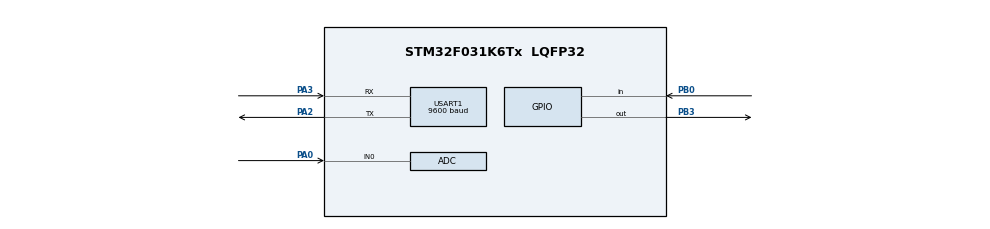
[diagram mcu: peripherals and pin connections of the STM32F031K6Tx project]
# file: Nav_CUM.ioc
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ADC.Resolution=ADC_RESOLUTION_8B
Mcu.Family=STM32F0
Mcu.Name=STM32F031K6Tx
Mcu.Package=LQFP32
NVIC.ADC1_IRQn=true\:0\:0\:false\:false\:true\:true\:true
NVIC.TIM14_IRQn=true\:0\:0\:false\:false\:true\:true\:true
NVIC.TIM16_IRQn=true\:0\:0\:false\:false\:true\:true\:true
NVIC.TIM17_IRQn=true\:0\:0\:false\:false\:true\:true\:true
NVIC.USART1_IRQn=true\:0\:0\:false\:false\:true\:true\:true
PA0.Mode=IN0
PA0.Signal=ADC_IN0
PA13.GPIO_Label=SWDIO
PA13.Mode=Serial_Wire
PA13.Signal=SYS_SWDIO
PA14.GPIO_Label=SWCLK
PA14.Mode=Serial_Wire
PA14.Signal=SYS_SWCLK
PA2.Mode=Asynchronous
PA2.Signal=USART1_TX
PA3.GPIO_ModeDefaultPP=GPIO_MODE_AF_PP
PA3.GPIO_PuPd=GPIO_NOPULL
PA3.GPIO_Speed=GPIO_SPEED_FREQ_HIGH
PA3.Mode=Asynchronous
PA3.Signal=USART1_RX
PB0.GPIO_PuPd=GPIO_PULLDOWN
PB0.Signal=GPIO_Input
PB3.Signal=GPIO_Output
PF0-OSC_IN.Mode=HSE-External-Clock-Source
PF0-OSC_IN.Signal=RCC_OSC_IN
ProjectManager.HeapSize=0x200
ProjectManager.StackSize=0x400
ProjectManager.TargetToolchain=STM32CubeIDE
RCC.AHBFreq_Value=8000000
RCC.APB1CLKDivider=RCC_HCLK_DIV16
RCC.APB1Freq_Value=500000
RCC.APB1TimFreq_Value=1000000
RCC.HCLKFreq_Value=8000000
TIM14.AutoReloadPreload=TIM_AUTORELOAD_PRELOAD_DISABLE
TIM14.Period=4999
TIM14.Prescaler=999
TIM16.Period=249
TIM16.Prescaler=999
TIM17.Period=29
TIM17.Prescaler=999
USART1.BaudRate=9600
USART1.VirtualMode-Asynchronous=VM_ASYNC
VP_TIM14_VS_ClockSourceINT.Mode=Enable_Timer
VP_TIM16_VS_ClockSourceINT.Mode=Enable_Timer
VP_TIM17_VS_ClockSourceINT.Mode=Enable_Timer
board=NUCLEO-F031K6

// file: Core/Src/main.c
/* USER CODE BEGIN Header */
/**
  ******************************************************************************
  * @file           : main.c
  * @brief          : Main program body
  ******************************************************************************
  * @attention
  *
  * <h2><center>&copy; Copyright (c) 2021 STMicroelectronics.
  * All rights reserved.</center></h2>
  *
  * This software component is licensed by ST under BSD 3-Clause license,
  * the "License"; You may not use this file except in compliance with the
  * License. You may obtain a copy of the License at:
  *                        opensource.org/licenses/BSD-3-Clause
  *
  ******************************************************************************
  */
/* USER CODE END Header */
#include "main.h"

/* USER CODE BEGIN PD */
#define size_tx_buffer 100 // Размер буффера приема-передачи nmea строки
uint8_t queue_message;
uint8_t tx_buffer[size_tx_buffer];
uint8_t rx_buffer[1];
uint8_t error_message[] = "error!\n\r";
uint8_t error_counter;
volatile uint8_t rx_counter;
volatile uint8_t size_message;
/* USER CODE END PD */

ADC_HandleTypeDef hadc;

TIM_HandleTypeDef htim14;
TIM_HandleTypeDef htim16;
TIM_HandleTypeDef htim17;

UART_HandleTypeDef huart1;

void SystemClock_Config(void);
static void MX_GPIO_Init(void);
static void MX_TIM14_Init(void);
static void MX_TIM16_Init(void);
static void MX_USART1_UART_Init(void);
static void MX_TIM17_Init(void);
static void MX_ADC_Init(void);

/* USER CODE BEGIN 0 */
void HAL_UART_RxCpltCallback(UART_HandleTypeDef *huart)
{
	if (rx_buffer[0] != '\n')
		{
				if(rx_counter == 0)
				{
					if(rx_buffer[0]=='$') flag.flag_true = 1;
					else flag.flag_true = 0;
				}
				else if (rx_counter == 3 && flag.flag_true)
				{
					if(rx_buffer[0]=='G') flag.flag_true = 1;
					else flag.flag_true = 0;
				}
				else if (rx_counter == 4  && flag.flag_true)
				{
					if(rx_buffer[0]=='G') flag.flag_true = 1;
					else flag.flag_true = 0;
				}
				else if (rx_counter == 5  && flag.flag_true)
					{
						if(rx_buffer[0]=='A') flag.flag_true = 1;
						else flag.flag_true = 0;
					}
			tx_buffer[rx_counter] = rx_buffer[0];

			rx_counter++;
			size_message = rx_counter;
			if (size_message >= size_tx_buffer && error_counter == 0)
				{
					HAL_UART_Transmit(&huart1, error_message, sizeof error_message / sizeof error_message[0],0xffff);
					error_counter++;
					flag.flag_send = 0;
				}
		}
	else if (rx_buffer[0] == '\n')
	{
		tx_buffer[rx_counter] = '\n';
		//tx_buffer[rx_counter+1] = '\n';
		//tx_buffer[rx_counter + 2] = '\0';
		size_message = rx_counter+1;
		rx_counter = 0;
		if (size_message >= size_tx_buffer)
			{
			flag.flag_send = 0;
			HAL_UART_Transmit(&huart1, error_message,sizeof error_message / sizeof error_message[0],0xffff);
			}
		else
		{
			if (flag.flag_true)
				{
				flag.flag_send = 1;
					error_counter = 0;
				}
			else flag.flag_send = 0;
			}
	}
	HAL_UART_Receive_IT(&huart1, rx_buffer, 1);
}
/* USER CODE END 0 */

int main(void)
{

  /* MCU Configuration--------------------------------------------------------*/

  /* Reset of all peripherals, Initializes the Flash interface and the Systick. */
  HAL_Init();

  /* USER CODE BEGIN Init */

  flag.TM_flag = 0;
  flag.Last_TM_flag = 0;
  flag.TM_Send = 0;
  flag.TIM16_flag = 0;
  flag.btnOn = 0;
  flag.flag_send = 0;
  flag.flag_true = 0;

  pwrVal = 0;
  pwr_cnt = 0;
  led_cnt = 0;

  /* USER CODE END Init */

  /* Configure the system clock */
  SystemClock_Config();

  /* Initialize all configured peripherals */
  MX_GPIO_Init();
  MX_TIM14_Init();
  MX_TIM16_Init();
  MX_USART1_UART_Init();
  MX_TIM17_Init();
  MX_ADC_Init();
  /* USER CODE BEGIN 2 */
  HAL_TIM_Base_Start_IT(&htim14);
  queue_message = 1;//î÷åðåäü îòïðàâêè ñîîáùåíèé èçíà÷àëüíî ðàâíà 1
  rx_counter = 0;//Ñèìâîëû åùå íå ïðèõîäèëè. Áóäåò 0.
  size_message = 0;//Ðàçìåðà îòïðàâëÿåìîãî ñîîáùåíèÿ åùå íå çíàåì. Áóäåò 0.
  error_counter = 0;//Îøèáîê åùå íå áûëî. Áóäåò 0.
  HAL_UART_Receive_IT(&huart1, rx_buffer, 1);//Ðàçðåøàåì ïðèåì äàííûõ, ðàçìåðîì â 1 ñèìâîë.
  //HAL_TIM_Base_Start_IT(&htim17);
  /* USER CODE END 2 */

  /* Infinite loop */
  /* USER CODE BEGIN WHILE */
  while (1)
  {
	  if (flag.flag_send == 1)
	  	  	  {//åñëè ðàçðåøåíî îòñûëàòü ñîîáùåíèå è î÷åðåäü íå ðàâíà ìàêñèìàëüíîé, òî
	  	  	  	  if (huart1.gState == HAL_UART_STATE_READY)// && tx_buffer[0] == '$' && tx_buffer[1] == 'G' && tx_buffer[2] == 'N')// && tx_buffer[3] == 'G')
	  	  	  	  	  { //åñëè ïîðò ñâîáîäåí, è î÷åðåäü ñîîáùåíèÿ ñîîòâåòñòâóåò, òî
	  	  	  		  	  HAL_UART_Transmit(&huart1, tx_buffer, size_message,0xffff);//îòïðàâëÿåì ñîîáùåíèå, ÷åãî íàì òàì ïðèøëî â rx_buffer
	  	  	  		  	  flag.flag_send = 0;//ñòàâèì ñëåäóþùóþ î÷åðåäü, åñëè çàõîòèì åùå ÷òî-òî îòñûëàòü â ïîðò.
	  	  	  	  	  }
	  	  	  }
	  if (flag.TM_flag == 1)
	  {
		  if (flag.Last_TM_flag == 0)
		  {
			  TeleMetrySend();
			  flag.Last_TM_flag = 1;
		  }

		  if (led_cnt > 0 && flag.TIM16_flag)
		  {
			  flag.TIM16_flag = 0;
			  led_cnt--;
		  }
		  else if (led_cnt == 0)
			  {
			  flag.TM_flag = 0;
			  flag.Last_TM_flag = 0;
			  HAL_TIM_Base_Stop_IT(&htim16);
			  }
	  }

    /* USER CODE END WHILE */

  }
}

void SystemClock_Config(void)
{
  RCC_OscInitTypeDef RCC_OscInitStruct = {0};
  RCC_ClkInitTypeDef RCC_ClkInitStruct = {0};
  RCC_PeriphCLKInitTypeDef PeriphClkInit = {0};

  /** Initializes the RCC Oscillators according to the specified parameters
  * in the RCC_OscInitTypeDef structure.
  */
  RCC_OscInitStruct.OscillatorType = RCC_OSCILLATORTYPE_HSI|RCC_OSCILLATORTYPE_HSI14;
  RCC_OscInitStruct.HSIState = RCC_HSI_ON;
  RCC_OscInitStruct.HSI14State = RCC_HSI14_ON;
  RCC_OscInitStruct.HSICalibrationValue = RCC_HSICALIBRATION_DEFAULT;
  RCC_OscInitStruct.HSI14CalibrationValue = 16;
  RCC_OscInitStruct.PLL.PLLState = RCC_PLL_NONE;
  if (HAL_RCC_OscConfig(&RCC_OscInitStruct) != HAL_OK)
  {
    Error_Handler();
  }
  /** Initializes the CPU, AHB and APB buses clocks
  */
  RCC_ClkInitStruct.ClockType = RCC_CLOCKTYPE_HCLK|RCC_CLOCKTYPE_SYSCLK
                              |RCC_CLOCKTYPE_PCLK1;
  RCC_ClkInitStruct.SYSCLKSource = RCC_SYSCLKSOURCE_HSI;
  RCC_ClkInitStruct.AHBCLKDivider = RCC_SYSCLK_DIV1;
  RCC_ClkInitStruct.APB1CLKDivider = RCC_HCLK_DIV16;

  if (HAL_RCC_ClockConfig(&RCC_ClkInitStruct, FLASH_LATENCY_0) != HAL_OK)
  {
    Error_Handler();
  }
  PeriphClkInit.PeriphClockSelection = RCC_PERIPHCLK_USART1;
  PeriphClkInit.Usart1ClockSelection = RCC_USART1CLKSOURCE_PCLK1;
  if (HAL_RCCEx_PeriphCLKConfig(&PeriphClkInit) != HAL_OK)
  {
    Error_Handler();
  }
}

static void MX_ADC_Init(void)
{

  ADC_ChannelConfTypeDef sConfig = {0};

  /** Configure the global features of the ADC (Clock, Resolution, Data Alignment and number of conversion)
  */
  hadc.Instance = ADC1;
  hadc.Init.ClockPrescaler = ADC_CLOCK_ASYNC_DIV1;
  hadc.Init.Resolution = ADC_RESOLUTION_8B;
  hadc.Init.DataAlign = ADC_DATAALIGN_RIGHT;
  hadc.Init.ScanConvMode = ADC_SCAN_DIRECTION_FORWARD;
  hadc.Init.EOCSelection = ADC_EOC_SINGLE_CONV;
  hadc.Init.LowPowerAutoWait = DISABLE;
  hadc.Init.LowPowerAutoPowerOff = DISABLE;
  hadc.Init.ContinuousConvMode = DISABLE;
  hadc.Init.DiscontinuousConvMode = DISABLE;
  hadc.Init.ExternalTrigConv = ADC_SOFTWARE_START;
  hadc.Init.ExternalTrigConvEdge = ADC_EXTERNALTRIGCONVEDGE_NONE;
  hadc.Init.DMAContinuousRequests = DISABLE;
  hadc.Init.Overrun = ADC_OVR_DATA_PRESERVED;
  if (HAL_ADC_Init(&hadc) != HAL_OK)
  {
    Error_Handler();
  }
  /** Configure for the selected ADC regular channel to be converted.
  */
  sConfig.Channel = ADC_CHANNEL_0;
  sConfig.Rank = ADC_RANK_CHANNEL_NUMBER;
  sConfig.SamplingTime = ADC_SAMPLETIME_1CYCLE_5;
  if (HAL_ADC_ConfigChannel(&hadc, &sConfig) != HAL_OK)
  {
    Error_Handler();
  }

}

static void MX_TIM14_Init(void)
{

  htim14.Instance = TIM14;
  htim14.Init.Prescaler = 999;
  htim14.Init.CounterMode = TIM_COUNTERMODE_UP;
  htim14.Init.Period = 4999;
  htim14.Init.ClockDivision = TIM_CLOCKDIVISION_DIV1;
  htim14.Init.AutoReloadPreload = TIM_AUTORELOAD_PRELOAD_DISABLE;
  if (HAL_TIM_Base_Init(&htim14) != HAL_OK)
  {
    Error_Handler();
  }

}

static void MX_TIM16_Init(void)
{

  htim16.Instance = TIM16;
  htim16.Init.Prescaler = 999;
  htim16.Init.CounterMode = TIM_COUNTERMODE_UP;
  htim16.Init.Period = 249;
  htim16.Init.ClockDivision = TIM_CLOCKDIVISION_DIV1;
  htim16.Init.RepetitionCounter = 0;
  htim16.Init.AutoReloadPreload = TIM_AUTORELOAD_PRELOAD_DISABLE;
  if (HAL_TIM_Base_Init(&htim16) != HAL_OK)
  {
    Error_Handler();
  }

}

static void MX_TIM17_Init(void)
{

  htim17.Instance = TIM17;
  htim17.Init.Prescaler = 999;
  htim17.Init.CounterMode = TIM_COUNTERMODE_UP;
  htim17.Init.Period = 29;
  htim17.Init.ClockDivision = TIM_CLOCKDIVISION_DIV1;
  htim17.Init.RepetitionCounter = 0;
  htim17.Init.AutoReloadPreload = TIM_AUTORELOAD_PRELOAD_DISABLE;
  if (HAL_TIM_Base_Init(&htim17) != HAL_OK)
  {
    Error_Handler();
  }

}

static void MX_USART1_UART_Init(void)
{

  huart1.Instance = USART1;
  huart1.Init.BaudRate = 9600;
  huart1.Init.WordLength = UART_WORDLENGTH_8B;
  huart1.Init.StopBits = UART_STOPBITS_1;
  huart1.Init.Parity = UART_PARITY_NONE;
  huart1.Init.Mode = UART_MODE_TX_RX;
  huart1.Init.HwFlowCtl = UART_HWCONTROL_NONE;
  huart1.Init.OverSampling = UART_OVERSAMPLING_16;
  huart1.Init.OneBitSampling = UART_ONE_BIT_SAMPLE_DISABLE;
  huart1.AdvancedInit.AdvFeatureInit = UART_ADVFEATURE_NO_INIT;
  if (HAL_UART_Init(&huart1) != HAL_OK)
  {
    Error_Handler();
  }

}

static void MX_GPIO_Init(void)
{
  GPIO_InitTypeDef GPIO_InitStruct = {0};

  /* GPIO Ports Clock Enable */
  __HAL_RCC_GPIOF_CLK_ENABLE();
  __HAL_RCC_GPIOA_CLK_ENABLE();
  __HAL_RCC_GPIOB_CLK_ENABLE();

  /*Configure GPIO pin Output Level */
  HAL_GPIO_WritePin(GPIOB, GPIO_PIN_3, GPIO_PIN_RESET);

  /*Configure GPIO pin : PB0 */
  GPIO_InitStruct.Pin = GPIO_PIN_0;
  GPIO_InitStruct.Mode = GPIO_MODE_INPUT;
  GPIO_InitStruct.Pull = GPIO_PULLDOWN;
  HAL_GPIO_Init(GPIOB, &GPIO_InitStruct);

  /*Configure GPIO pin : PB3 */
  GPIO_InitStruct.Pin = GPIO_PIN_3;
  GPIO_InitStruct.Mode = GPIO_MODE_OUTPUT_PP;
  GPIO_InitStruct.Pull = GPIO_NOPULL;
  GPIO_InitStruct.Speed = GPIO_SPEED_FREQ_LOW;
  HAL_GPIO_Init(GPIOB, &GPIO_InitStruct);

}

/* USER CODE BEGIN 4 */
void Bin2Str(uint16_t data, char* pbuf)
{
    //pbuf += 3 - 1;  // Установка указателя буфера на последний (старший)         //
    *pbuf++ = (data / 100)|0x30;   // Вычисление 3 разряда двоично-десятичного числа
    data %= 100;            //
    *pbuf++ = (data / 10)|0x30;    // Вычисление 2 разряда двоично-десятичного числа
    data %= 10;             //
    *pbuf++ = (data / 1)|0x30;     // Вычисление 1 разряда двоично-десятичного числа
    data %= 1;
}
uint16_t pec_Update(uint16_t pec)
{
   static const  uint16_t lookup[256] =
   {
		   0x000, 0x001, 0x003, 0x004, 0x006, 0x008, 0x009, 0x00B,
		   0x00D, 0x00E, 0x010, 0x012, 0x013, 0x015, 0x017, 0x018,
		   0x01A, 0x01C, 0x01D, 0x01F, 0x020, 0x022, 0x024, 0x025,
		   0x027, 0x029, 0x02A, 0x02C, 0x02E, 0x02F, 0x031, 0x033,
		   0x034, 0x036, 0x038, 0x039, 0x03B, 0x03C, 0x03E, 0x040,
		   0x041, 0x043, 0x045, 0x046, 0x048, 0x04A, 0x04B, 0x04D,
		   0x04F, 0x050, 0x052, 0x054, 0x055, 0x057, 0x058, 0x05A,
		   0x05C, 0x05D, 0x05F, 0x061, 0x062, 0x064, 0x066, 0x067,
		   0x069, 0x06B, 0x06C, 0x06E, 0x070, 0x071, 0x073, 0x074,
		   0x076, 0x078, 0x079, 0x07B, 0x07D, 0x07E, 0x080, 0x082,
		   0x083, 0x085, 0x087, 0x088, 0x08A, 0x08C, 0x08D, 0x08F,
		   0x090, 0x092, 0x094, 0x095, 0x097, 0x099, 0x09A, 0x09C,
		   0x09E, 0x09F, 0x0A1, 0x0A3, 0x0A4, 0x0A6, 0x0A8, 0x0A9,
		   0x0AB, 0x0AC, 0x0AE, 0x0B0, 0x0B1, 0x0B3, 0x0B5, 0x0B6,
		   0x0B8, 0x0BA, 0x0BB, 0x0BD, 0x0BF, 0x0C0, 0x0C2, 0x0C4,
		   0x0C5, 0x0C7, 0x0C8, 0x0CA, 0x0CC, 0x0CD, 0x0CF, 0x0D1,
		   0x0D2, 0x0D4, 0x0D6, 0x0D7, 0x0D9, 0x0DB, 0x0DC, 0x0DE,
		   0x0E0, 0x0E1, 0x0E3, 0x0E4, 0x0E6, 0x0E8, 0x0E9, 0x0EB,
		   0x0ED, 0x0EE, 0x0F0, 0x0F2, 0x0F3, 0x0F5, 0x0F7, 0x0F8,
		   0x0FA, 0x0FC, 0x0FD, 0x0FF, 0x100, 0x102, 0x104, 0x105,
		   0x107, 0x109, 0x10A, 0x10C, 0x10E, 0x10F, 0x111, 0x113,
		   0x114, 0x116, 0x118, 0x119, 0x11B, 0x11C, 0x11E, 0x120,
		   0x121, 0x123, 0x125, 0x126, 0x128, 0x12A, 0x12B, 0x12D,
		   0x12F, 0x130, 0x132, 0x134, 0x135, 0x137, 0x138, 0x13A,
		   0x13C, 0x13D, 0x13F, 0x141, 0x142, 0x144, 0x146, 0x147,
		   0x149, 0x14B, 0x14C, 0x14E, 0x150, 0x151, 0x153, 0x154,
		   0x156, 0x158, 0x159, 0x15B, 0x15D, 0x15E, 0x160, 0x162,
		   0x163, 0x165, 0x167, 0x168, 0x16A, 0x16C, 0x16D, 0x16F,
		   0x170, 0x172, 0x174, 0x175, 0x177, 0x179, 0x17A, 0x17C,
		   0x17E, 0x17F, 0x181, 0x183, 0x184, 0x186, 0x188, 0x189,
		   0x18B, 0x18C, 0x18E, 0x190, 0x191, 0x193, 0x195, 0x196,
		   0x198, 0x19A, 0x19B, 0x19D, 0x19F, 0x1A0, 0x1A2, 0x1A4
   };
  pec = lookup[pec];
  return pec;
}

void TeleMetrySend(void)
{
	HAL_ADC_Start(&hadc);
	  HAL_ADC_PollForConversion(&hadc, 10);
	  pwrVal = HAL_ADC_GetValue(&hadc);
	  HAL_ADC_Stop(&hadc);

	  pwrVal = pec_Update(pwrVal);
	  Bin2Str(pwrVal, buffStr);

	  TM_Str[0]='#';
	  TM_Str[1]='T';
	  TM_Str[2]='M';
	  TM_Str[3]=',';
	  TM_Str[4]=buffStr[0];
	  TM_Str[5]=buffStr[1];
	  TM_Str[6]='.';
	  TM_Str[7]=buffStr[2];
	  TM_Str[8]=',';
	  TM_Str[9]='R';
	  TM_Str[10]=',';
	  if (HAL_GPIO_ReadPin(GPIOB, GPIO_PIN_0)==GPIO_PIN_SET) TM_Str[11]='W';
	  else TM_Str[11]=' ';
	  TM_Str[12]='*';
	  CrcBuild();
	  TM_Str[15]='\n';
	  TM_Str[16]='\r';

	  if(huart1.gState == HAL_UART_STATE_READY)HAL_UART_Transmit(&huart1, TM_Str, 17, 0xFFFF);
	  HAL_TIM_Base_Start_IT(&htim16);

	  if(pwrVal <= 300) pwr_cnt = 1;
	  else if(pwrVal > 300 && pwrVal <= 340) pwr_cnt = 2;
	  else if(pwrVal > 340 && pwrVal <= 380) pwr_cnt = 3;
	  else pwr_cnt = 4;

	  led_cnt = pwr_cnt*2;
}

void CrcBuild (void)
{
	uint8_t crc = 0;
	for (uint8_t i = 0; i <=12; i++)
	{
		crc += TM_Str[i];
	}
	uint8_t LB = crc&0x0f;
	uint8_t HB = crc>>4;
	uint8_t LB_cnt = 0;
	uint8_t HB_cnt = 0;

	for (uint8_t a = 0; a <=HB; a++)
	{
		HB_cnt++;
	}

	if (HB_cnt == 0) TM_Str[13] = '0';
	else if (HB_cnt == 1) TM_Str[13] = '1';
	else if (HB_cnt == 2) TM_Str[13] = '2';
	else if (HB_cnt == 3) TM_Str[13] = '3';
	else if (HB_cnt == 4) TM_Str[13] = '4';
	else if (HB_cnt == 5) TM_Str[13] = '5';
	else if (HB_cnt == 6) TM_Str[13] = '6';
	else if (HB_cnt == 7) TM_Str[13] = '7';
	else if (HB_cnt == 8) TM_Str[13] = '8';
	else if (HB_cnt == 9) TM_Str[13] = '9';
	else if (HB_cnt == 10) TM_Str[13] = 'A';
	else if (HB_cnt == 11) TM_Str[13] = 'B';
	else if (HB_cnt == 12) TM_Str[13] = 'C';
	else if (HB_cnt == 13) TM_Str[13] = 'D';
	else if (HB_cnt == 14) TM_Str[13] = 'E';
	else if (HB_cnt == 15) TM_Str[13] = 'F';

	for (uint8_t b = 0; b <=LB; b++)
	{
		LB_cnt++;
	}
	if (LB_cnt == 0) TM_Str[14] = '0';
	else if (LB_cnt == 1) TM_Str[14] = '1';
	else if (LB_cnt == 2) TM_Str[14] = '2';
	else if (LB_cnt == 3) TM_Str[14] = '3';
	else if (LB_cnt == 4) TM_Str[14] = '4';
	else if (LB_cnt == 5) TM_Str[14] = '5';
	else if (LB_cnt == 6) TM_Str[14] = '6';
	else if (LB_cnt == 7) TM_Str[14] = '7';
	else if (LB_cnt == 8) TM_Str[14] = '8';
	else if (LB_cnt == 9) TM_Str[14] = '9';
	else if (LB_cnt == 10) TM_Str[14] = 'A';
	else if (LB_cnt == 11) TM_Str[14] = 'B';
	else if (LB_cnt == 12) TM_Str[14] = 'C';
	else if (LB_cnt == 13) TM_Str[14] = 'D';
	else if (LB_cnt == 14) TM_Str[14] = 'E';
	else if (LB_cnt == 15) TM_Str[14] = 'F';
}
/* USER CODE END 4 */

void Error_Handler(void)
{
  __disable_irq();
  while (1)
  {
  }
}

/************************ (C) COPYRIGHT STMicroelectronics *****END OF FILE****/
